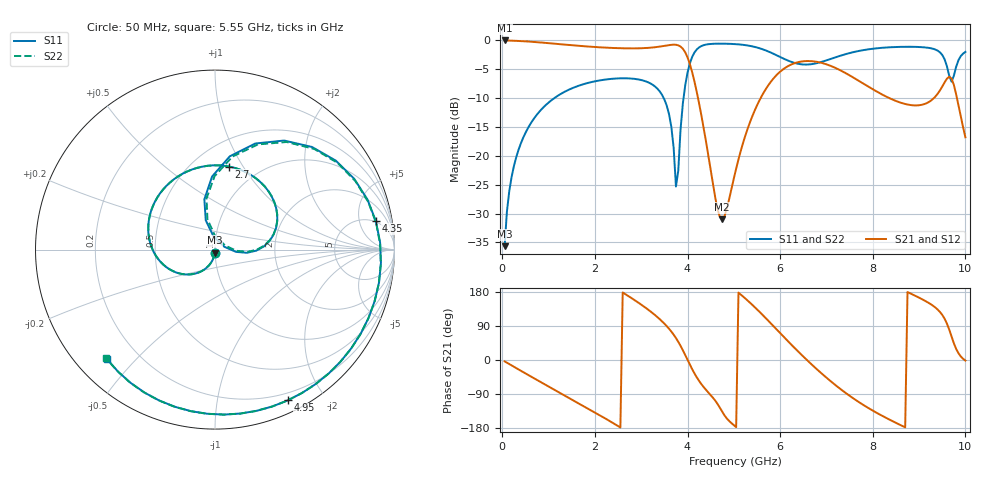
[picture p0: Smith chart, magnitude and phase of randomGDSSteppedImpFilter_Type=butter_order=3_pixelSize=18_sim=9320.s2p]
! freq	dB(S11)	phase(S11)	dB(S12)	phase(S12)
!  dB(S21)	phase(S21)	dB(S22)	phase(S22)
!S-par simulation data
#  GHz  S  DB  R 50
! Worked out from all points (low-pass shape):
!   200 points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, 50 MHz to 10 GHz, reference 50 ohm
!   highest |S21| = -0.01 dB at 50 MHz (marker M1); lowest = -31.0 dB at 4.75 GHz (marker M2)
!   |S21| within 3 dB of the highest: start of sweep to 4.003 GHz
!   lowest |S11| = -35.7 dB at 50 MHz (marker M3), VSWR 1.03, Z = 49.9 - j1.64 ohm
!   |S11| at or under -10 dB: start of sweep to 1.123 GHz; 3.486 GHz to 3.914 GHz (428.4 MHz wide, 11.6 % of centre)
!   |S22| runs from -35.7 to -0.6 dB; largest |S21 - S12| = 0
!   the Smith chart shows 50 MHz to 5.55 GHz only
!   S11 on the Smith chart (normalised r, x): 50 MHz: 1.00, -0.03; 2.7 GHz: 0.73, +0.87; 4.35 GHz: 4.70, +8.77; 4.95 GHz: 0.12, -1.59; 5.55 GHz: 0.09, -0.41
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0.05  -35.66 -93.3  -0.01 -3.6  -0.01 -3.6  -35.66 -93.3
0.2  -23.70 -104.3  -0.04 -14.3  -0.04 -14.3  -23.70 -104.3
0.5  -16.03 -125.8  -0.16 -35.4  -0.16 -35.4  -16.03 -125.9
1.75  -7.59 148.3  -1.00 -121.2  -1.00 -121.2  -7.59 148.0
2.7  -6.57 80.4  -1.38 170.5  -1.38 170.5  -6.57 80.1
3.4  -8.84 19.6  -1.07 107.7  -1.07 107.7  -8.83 19.8
3.65  -14.96 -5.7  -0.76 75.1  -0.76 75.1  -14.88 -4.0
3.75  -25.31 16.8  -0.75 57.9  -0.75 57.9  -24.29 21.2
3.95  -7.79 92.2  -2.06 13.1  -2.06 13.1  -7.76 90.3
4.1  -2.86 57.6  -5.50 -24.2  -5.50 -24.2  -2.85 56.4
4.35  -0.82 10.1  -15.25 -71.7  -15.25 -71.7  -0.82 9.3
4.75  -0.56 -41.5  -31.02 -136.9  -31.02 -136.9  -0.56 -42.2
4.95  -0.60 -64.1  -25.68 -166.7  -25.68 -166.7  -0.61 -64.7
5.05  -0.65 -75.4  -22.21 -177.1  -22.21 -177.1  -0.65 -76.0
5.55  -1.34 -134.7  -10.44 127.7  -10.44 127.7  -1.35 -135.3
6.1  -3.25 153.3  -4.80 58.2  -4.80 58.2  -3.26 152.4
6.7  -4.09 77.5  -3.61 -14.0  -3.61 -14.0  -4.09 76.3
7.5  -2.19 -5.1  -6.06 -94.5  -6.06 -94.5  -2.19 -6.0
8.35  -1.20 -67.4  -9.97 -156.7  -9.97 -156.7  -1.20 -68.0
9.1  -1.19 -111.6  -11.07 158.1  -11.07 158.1  -1.19 -112.0
9.65  -6.10 -145.3  -6.31 80.5  -6.31 80.5  -5.93 -145.2
10  -2.00 -132.7  -16.79 -1.5  -16.79 -1.5  -1.97 -133.9
